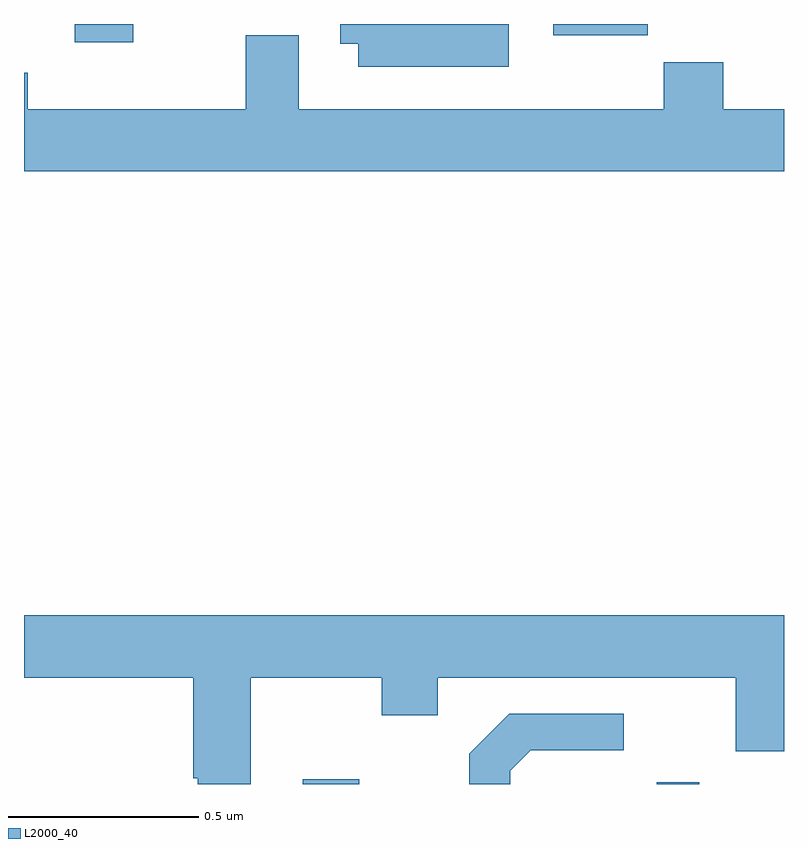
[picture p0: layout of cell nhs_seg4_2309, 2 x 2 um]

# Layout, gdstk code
import gdstk
lib = gdstk.Library(unit=1e-6, precision=1e-09)
def R(c, l, rs):  # rectangles x0, y0, x1, y1
    for r in rs: c.add(gdstk.rectangle(r[:2], r[2:], *l))
def P(c, l, *ps):  # polygons
    for p in ps: c.add(gdstk.Polygon(p, *l))
L2000_40 = (2000, 40)

nhs_seg4_2309 = lib.new_cell('nhs_seg4_2309')
R(nhs_seg4_2309, L2000_40, [(139.733,769.9,139.882,769.912), (140.665,769.9,140.777,769.904), (139.133,771.852,139.288,771.9), (140.393,771.87,140.642,771.9)])
P(nhs_seg4_2309, L2000_40, [(140.275,771.9),(139.832,771.9),(139.832,771.848),(139.88,771.848),(139.88,771.788),(140.275,771.788)],
  [(141,771.676),(140.84,771.676),(140.84,771.8),(140.683,771.8),(140.683,771.676),(139.723,771.676),(139.723,771.871),(139.583,771.871),(139.583,771.676),(139.01,771.676),(139.01,771.772),(139,771.772),(139,771.512),(141,771.512)],
  [(139.597,770.18),(139.942,770.18),(139.942,770.081),(140.089,770.081),(140.089,770.18),(140.873,770.18),(140.873,769.986),(141,769.986),(141,770.344),(139,770.344),(139,770.18),(139.445,770.18),(139.445,769.915),(139.457,769.915),(139.457,769.9),(139.597,769.9)],
  [(140.28,769.935),(140.334,769.989),(140.578,769.989),(140.578,770.085),(140.277,770.085),(140.172,769.979),(140.172,769.9),(140.28,769.9)])

lib.write_gds('nhs_seg4_2309.gds')
